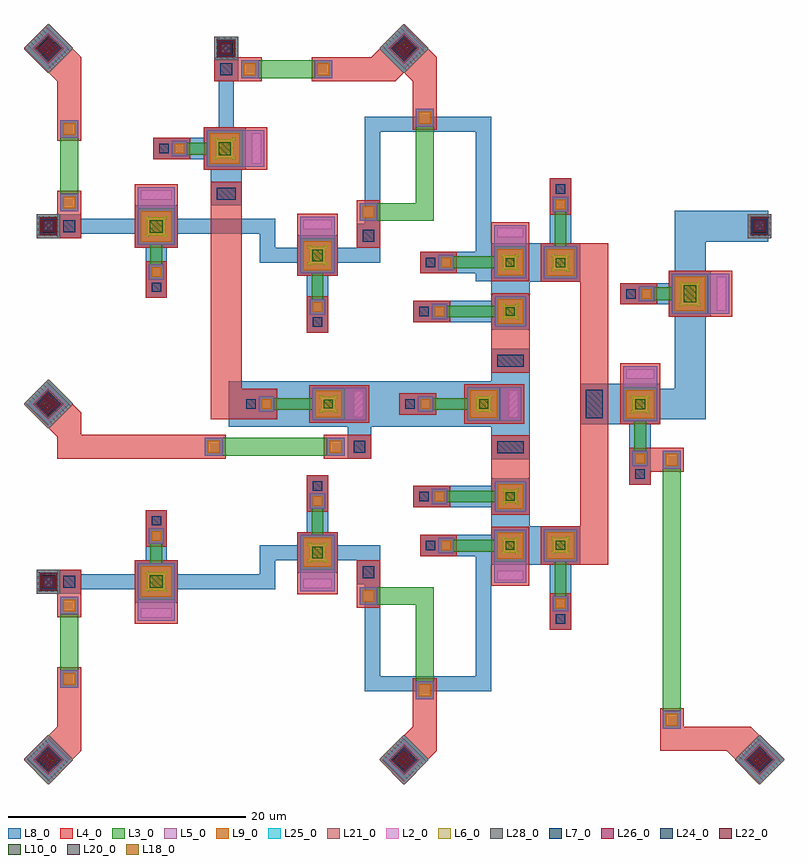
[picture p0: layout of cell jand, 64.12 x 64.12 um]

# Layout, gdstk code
import gdstk
lib = gdstk.Library(unit=1e-6, precision=1e-09)
def R(c, l, rs):  # rectangles x0, y0, x1, y1
    for r in rs: c.add(gdstk.rectangle(r[:2], r[2:], *l))
def P(c, l, *ps):  # polygons
    for p in ps: c.add(gdstk.Polygon(p, *l))
L2_0 = (2, 0)
L3_0 = (3, 0)
L4_0 = (4, 0)
L5_0 = (5, 0)
L6_0 = (6, 0)
L7_0 = (7, 0)
L8_0 = (8, 0)
L9_0 = (9, 0)
L10_0 = (10, 0)
L18_0 = (18, 0)
L20_0 = (20, 0)
L21_0 = (21, 0)
L22_0 = (22, 0)
L24_0 = (24, 0)
L25_0 = (25, 0)
L26_0 = (26, 0)
L28_0 = (28, 0)

jand = lib.new_cell('jand')
R(jand, L2_0, [(7.8,11.95,10.4,12.75), (21.5,14.45,23.9,15.25), (37.85,15.15,40.05,15.95), (38.85,28.85,39.65,31.15), (25.75,28.9,26.55,31.1), (48.75,32.15,51.1,32.95), (56.4,37.85,57.2,40.75), (37.85,44.05,40.05,44.85), (21.5,44.75,23.9,45.55), (7.8,47.25,10.4,48.05), (17.15,50.25,17.95,52.85)])
P(jand, L2_0, [(28.586,60),(30,58.586),(31.414,60),(30,61.414)],
  [(-1.414,30),(0,28.586),(1.414,30),(0,31.414)],
  [(-1.414,0),(0,-1.414),(1.414,0),(0,1.414)],
  [(28.586,0),(30,-1.414),(31.414,0),(30,1.414)],
  [(58.586,0),(60,-1.414),(61.414,0),(60,1.414)],
  [(-1.414,60),(0,58.586),(1.414,60),(0,61.414)])
R(jand, L3_0, [(51.85,2.6,53.35,4.1), (31,5.1,32.5,6.6), (1,6.05,2.5,7.55), (1,12.25,2.5,13.75), (42.55,12.5,43.85,13.8), (26.25,13.05,27.75,14.55), (7.55,13.5,10.65,16.55), (21.25,16,24.15,18.95), (37.6,16.7,40.3,19.4), (41.8,16.7,44.6,19.45), (32.9,17.4,34.2,18.7), (8.45,18.2,9.75,19.5), (37.65,20.9,40.3,23.5), (22.05,21.15,23.35,22.45), (32.35,21.55,33.65,22.85), (51.85,24.55,53.35,26.05), (49.275,24.75,50.575,26.05), (13.2,25.65,14.7,27.15), (23.5,25.65,25,27.15), (48.5,28.55,51.35,31.4), (35.35,28.6,38.1,31.4), (22.25,28.65,25,31.35), (17.75,29.35,19.05,30.65), (31.15,29.35,32.45,30.65), (37.65,36.5,40.3,39.1), (32.35,37.15,33.65,38.45), (22.05,37.55,23.35,38.85), (52.6,37.6,55.65,41), (49.8,38.65,51.1,39.95), (8.45,40.5,9.75,41.8), (41.8,40.55,44.6,43.3), (37.6,40.6,40.3,43.3), (21.25,41.05,24.15,44), (32.9,41.3,34.2,42.6), (7.55,43.45,10.65,46.5), (26.25,45.45,27.75,46.95), (42.55,46.2,43.85,47.5), (1,46.25,2.5,47.75), (13.35,50,16.4,53.1), (10.4,50.9,11.7,52.2), (1,52.45,2.5,53.95), (31,53.4,32.5,54.9), (16.25,57.5,17.75,59), (22.45,57.5,23.95,59)])
R(jand, L4_0, [(51.6,0.75,57.25,2.75), (51.6,2.35,53.6,4.35), (30.75,2.75,32.75,4.85), (30.75,4.85,32.75,6.85), (0.75,5.8,2.75,7.8), (42.3,10.95,44.1,12.75), (7.3,11.45,10.9,13.25), (0.75,12,2.75,14), (42.3,12.25,44.1,14.05), (26,12.8,28,14.8), (7.3,13.25,10.9,16.8), (21,13.95,24.4,15.75), (0.75,14,2.75,16), (37.35,14.65,40.55,16.45), (26,14.8,28,16.8), (21,15.75,24.4,19.2), (37.35,16.45,40.55,19.65), (41.55,16.45,44.85,19.7), (44.85,16.45,47.25,43.55), (31.35,17.15,33.15,18.95), (32.65,17.15,34.45,18.95), (8.2,17.95,10,19.75), (8.2,19.25,10,21.05), (37.35,20.65,40.6,25.35), (37.4,20.65,40.55,23.75), (21.8,20.9,23.6,22.7), (30.8,21.3,32.6,23.1), (32.1,21.3,33.9,23.1), (21.8,22.2,23.6,24), (49.025,23.2,50.825,25), (49.25,24.2,50.15,26.2), (50.8,24.3,51.6,26.3), (51.6,24.3,53.6,26.3), (49.025,24.5,50.825,26.3), (37.35,25.35,40.6,27.35), (0.75,25.4,12.95,27.4), (12.95,25.4,14.95,27.4), (23.25,25.4,25.25,27.4), (25.25,25.4,27.25,27.4), (44.85,28.3,47.25,31.7), (48.25,28.3,51.6,31.65), (35.1,28.35,38.35,31.65), (38.35,28.35,40.15,31.65), (22,28.4,25.25,31.6), (25.25,28.4,27.05,31.6), (16.2,29.1,18,30.9), (17.5,29.1,19.3,30.9), (29.6,29.1,31.4,30.9), (30.9,29.1,32.7,30.9), (48.25,31.65,51.6,33.45), (37.35,32.65,40.6,34.65), (37.35,34.65,40.6,39.15), (21.8,36,23.6,37.8), (37.4,36.25,40.55,39.35), (30.8,36.9,32.6,38.7), (32.1,36.9,33.9,38.7), (21.8,37.3,23.6,39.1), (52.35,37.35,55.9,41.25), (55.9,37.35,57.7,41.25), (48.25,38.4,50.05,40.2), (49.55,38.4,51.35,40.2), (8.2,38.95,10,40.75), (8.2,40.25,10,42.05), (41.55,40.3,44.85,43.55), (37.35,40.35,40.55,43.55), (21,40.8,24.4,44.25), (31.35,41.05,33.15,42.85), (32.65,41.05,34.45,42.85), (7.3,43.2,10.9,46.75), (26,43.2,28,45.2), (37.35,43.55,40.55,45.35), (0.75,44,2.75,46), (21,44.25,24.4,46.05), (26,45.2,28,47.2), (42.3,45.95,44.1,47.75), (0.75,46,2.75,48), (7.3,46.75,10.9,48.55), (13.7,46.75,16.3,48.75), (42.3,47.25,44.1,49.05), (13.1,49.75,16.65,53.35), (16.65,49.75,18.45,53.35), (8.85,50.65,10.65,52.45), (10.15,50.65,11.95,52.45), (0.75,52.2,2.75,54.2), (30.75,53.15,32.75,55.15), (30.75,55.15,32.75,57.25), (14,57.25,16,59.25), (16,57.25,18,59.25), (22.2,57.25,24.2,59.25)])
P(jand, L4_0, [(29.939,57.939),(30.061,57.939),(32.061,59.939),(32.061,60.061),(30.061,62.061),(29.939,62.061),(27.939,60.061),(27.939,59.939)],
  [(30.75,57.25),(32.75,57.25),(32.75,59.25),(31,61),(29,59)],
  [(27.25,59.25),(27.25,57.25),(29.25,57.25),(31,59),(29,61)],
  [(-0.061,27.939),(0.061,27.939),(2.061,29.939),(2.061,30.061),(0.061,32.061),(-0.061,32.061),(-2.061,30.061),(-2.061,29.939)],
  [(0.75,27.25),(2.75,27.25),(2.75,29.25),(1,31),(-1,29)],
  [(-0.061,-2.061),(0.061,-2.061),(2.061,-0.061),(2.061,0.061),(0.061,2.061),(-0.061,2.061),(-2.061,0.061),(-2.061,-0.061)],
  [(2.75,0.75),(2.75,2.75),(0.75,2.75),(-1,1),(1,-1)],
  [(29.939,-2.061),(30.061,-2.061),(32.061,-0.061),(32.061,0.061),(30.061,2.061),(29.939,2.061),(27.939,0.061),(27.939,-0.061)],
  [(32.75,0.75),(32.75,2.75),(30.75,2.75),(29,1),(31,-1)],
  [(59.939,-2.061),(60.061,-2.061),(62.061,-0.061),(62.061,0.061),(60.061,2.061),(59.939,2.061),(57.939,0.061),(57.939,-0.061)],
  [(59.25,2.75),(57.25,2.75),(57.25,0.75),(59,-1),(61,1)],
  [(-0.061,57.939),(0.061,57.939),(2.061,59.939),(2.061,60.061),(0.061,62.061),(-0.061,62.061),(-2.061,60.061),(-2.061,59.939)],
  [(0.75,57.25),(2.75,57.25),(2.75,59.25),(1,61),(-1,59)])
R(jand, L5_0, [(51.85,2.6,53.35,4.1), (31,5.1,32.5,6.6), (1,6.05,2.5,7.55), (7.55,11.7,10.65,13), (1,12.25,2.5,13.75), (42.55,12.5,43.85,13.8), (7.55,13,10.65,13.5), (26.25,13.05,27.75,14.55), (7.55,13.5,10.65,16.55), (21.25,14.2,24.15,15.5), (37.6,14.9,40.3,16.2), (21.25,15.5,24.15,16), (21.25,16,24.15,18.95), (37.6,16.2,40.3,16.7), (37.6,16.7,40.3,19.4), (41.8,16.7,44.6,19.45), (32.9,17.4,34.2,18.7), (8.45,18.2,9.75,19.5), (37.65,20.9,40.3,23.5), (22.05,21.15,23.35,22.45), (32.35,21.55,33.65,22.85), (51.85,24.55,53.35,26.05), (49.275,24.75,50.575,26.05), (13.2,25.65,14.7,27.15), (23.5,25.65,25,27.15), (48.5,28.55,51.35,31.4), (35.35,28.6,38.1,31.4), (38.1,28.6,38.6,31.4), (38.6,28.6,39.9,31.4), (22.25,28.65,25,31.35), (25,28.65,25.5,31.35), (25.5,28.65,26.8,31.35), (17.75,29.35,19.05,30.65), (31.15,29.35,32.45,30.65), (48.5,31.4,51.35,31.9), (48.5,31.9,51.35,33.2), (37.65,36.5,40.3,39.1), (32.35,37.15,33.65,38.45), (22.05,37.55,23.35,38.85), (52.6,37.6,55.65,41), (55.65,37.6,56.15,41), (56.15,37.6,57.45,41), (49.8,38.65,51.1,39.95), (8.45,40.5,9.75,41.8), (41.8,40.55,44.6,43.3), (37.6,40.6,40.3,43.3), (21.25,41.05,24.15,44), (32.9,41.3,34.2,42.6), (37.6,43.3,40.3,43.8), (7.55,43.45,10.65,46.5), (37.6,43.8,40.3,45.1), (21.25,44,24.15,44.5), (21.25,44.5,24.15,45.8), (26.25,45.45,27.75,46.95), (42.55,46.2,43.85,47.5), (1,46.25,2.5,47.75), (7.55,46.5,10.65,47), (7.55,47,10.65,48.3), (13.35,50,16.4,53.1), (16.4,50,16.9,53.1), (16.9,50,18.2,53.1), (10.4,50.9,11.7,52.2), (1,52.45,2.5,53.95), (31,53.4,32.5,54.9), (16.25,57.5,17.75,59), (22.45,57.5,23.95,59)])
P(jand, L5_0, [(28.232,60),(30,58.232),(31.768,60),(30,61.768)],
  [(-1.768,30),(0,28.232),(1.768,30),(0,31.768)],
  [(-1.768,0),(0,-1.768),(1.768,0),(0,1.768)],
  [(28.232,0),(30,-1.768),(31.768,0),(30,1.768)],
  [(58.232,0),(60,-1.768),(61.768,0),(60,1.768)],
  [(-1.768,60),(0,58.232),(1.768,60),(0,61.768)])
R(jand, L6_0, [(8.2,14.15,8.4,14.35), (9.8,14.15,10,14.35), (8.3,14.25,9.9,15.8), (8.2,15.7,8.4,15.9), (9.8,15.7,10,15.9), (21.9,16.65,22.1,16.85), (23.3,16.65,23.5,16.85), (22,16.75,23.4,18.2), (38.25,17.35,38.45,17.55), (39.45,17.35,39.65,17.55), (42.45,17.35,42.65,17.55), (43.75,17.35,43.95,17.55), (38.35,17.45,39.55,18.65), (42.55,17.45,43.85,18.7), (21.9,18.1,22.1,18.3), (23.3,18.1,23.5,18.3), (38.25,18.55,38.45,18.75), (39.45,18.55,39.65,18.75), (42.45,18.6,42.65,18.8), (43.75,18.6,43.95,18.8), (38.3,21.55,38.5,21.75), (39.45,21.55,39.65,21.75), (38.4,21.65,39.55,22.75), (38.3,22.65,38.5,22.85), (39.45,22.65,39.65,22.85), (49.15,29.2,49.35,29.4), (50.5,29.2,50.7,29.4), (36,29.25,36.2,29.45), (37.25,29.25,37.45,29.45), (22.9,29.3,23.1,29.5), (24.15,29.3,24.35,29.5), (49.25,29.3,50.6,30.65), (36.1,29.35,37.35,30.65), (23,29.4,24.25,30.6), (22.9,30.5,23.1,30.7), (24.15,30.5,24.35,30.7), (36,30.55,36.2,30.75), (37.25,30.55,37.45,30.75), (49.15,30.55,49.35,30.75), (50.5,30.55,50.7,30.75), (38.3,37.15,38.5,37.35), (39.45,37.15,39.65,37.35), (38.4,37.25,39.55,38.35), (38.3,38.25,38.5,38.45), (39.45,38.25,39.65,38.45), (53.25,38.25,53.45,38.45), (54.8,38.25,55,38.45), (53.35,38.35,54.9,40.25), (53.25,40.15,53.45,40.35), (54.8,40.15,55,40.35), (42.45,41.2,42.65,41.4), (43.75,41.2,43.95,41.4), (38.25,41.25,38.45,41.45), (39.45,41.25,39.65,41.45), (42.55,41.3,43.85,42.55), (38.35,41.35,39.55,42.55), (21.9,41.7,22.1,41.9), (23.3,41.7,23.5,41.9), (22,41.8,23.4,43.25), (38.25,42.45,38.45,42.65), (39.45,42.45,39.65,42.65), (42.45,42.45,42.65,42.65), (43.75,42.45,43.95,42.65), (21.9,43.15,22.1,43.35), (23.3,43.15,23.5,43.35), (8.2,44.1,8.4,44.3), (9.8,44.1,10,44.3), (8.3,44.2,9.9,45.75), (8.2,45.65,8.4,45.85), (9.8,45.65,10,45.85), (14,50.65,14.2,50.85), (15.55,50.65,15.75,50.85), (14.1,50.75,15.65,52.35), (14,52.25,14.2,52.45), (15.55,52.25,15.75,52.45)])
R(jand, L7_0, [(42.8,11.45,43.6,12.25), (1.25,14.5,2.25,15.5), (26.5,15.3,27.5,16.3), (31.85,17.65,32.65,18.45), (8.7,19.75,9.5,20.55), (31.3,21.8,32.1,22.6), (22.3,22.7,23.1,23.5), (49.525,23.7,50.325,24.5), (37.85,25.85,40.1,26.85), (25.75,25.9,26.75,26.9), (45.35,28.8,46.75,31.2), (16.7,29.6,17.5,30.4), (30.1,29.6,30.9,30.4), (37.85,33.15,40.1,34.15), (22.3,36.5,23.1,37.3), (31.3,37.4,32.1,38.2), (48.75,38.9,49.55,39.7), (8.7,39.45,9.5,40.25), (31.85,41.55,32.65,42.35), (26.5,43.7,27.5,44.7), (1.25,44.5,2.25,45.5), (14.2,47.25,15.8,48.25), (42.8,47.75,43.6,48.55), (9.35,51.15,10.15,51.95), (14.5,57.75,15.5,58.75)])
R(jand, L8_0, [(42.3,10.95,44.1,12.75), (7.3,13.25,10.9,16.8), (0.75,14,2.75,16), (26,14.8,28,16.8), (21,15.75,24.4,19.2), (37.35,16.45,40.55,19.65), (41.55,16.45,44.85,19.7), (31.35,17.15,33.15,18.95), (8.2,19.25,10,21.05), (37.4,20.65,40.55,23.75), (30.8,21.3,32.6,23.1), (21.8,22.2,23.6,24), (49.025,23.2,50.825,25), (37.35,25.35,40.6,27.35), (25.25,25.4,27.25,27.4), (37.35,27.35,40.6,32.65), (25.25,27.4,27.25,28.5), (44.85,28.3,47.25,31.7), (47.25,28.3,51.6,31.7), (48.25,28.3,51.6,31.65), (35.1,28.35,38.35,31.65), (22,28.4,25.25,31.6), (16.2,29.1,18,30.9), (29.6,29.1,31.4,30.9), (37.35,32.65,40.6,34.65), (21.8,36,23.6,37.8), (37.4,36.25,40.55,39.35), (30.8,36.9,32.6,38.7), (52.35,37.35,55.9,41.25), (48.25,38.4,50.05,40.2), (8.2,38.95,10,40.75), (41.55,40.3,44.85,43.55), (37.35,40.35,40.55,43.55), (21,40.8,24.4,44.25), (31.35,41.05,33.15,42.85), (7.3,43.2,10.9,46.75), (26,43.2,28,45.2), (0.75,44,2.75,46), (13.7,46.75,16.3,48.75), (42.3,47.25,44.1,49.05), (13.1,49.75,16.65,53.35), (8.85,50.65,10.65,52.45), (14,57.25,16,59.25)])
P(jand, L8_0, [(44.85,43.55),(37.35,43.55),(37.35,36.25),(40.6,36.25),(40.6,40.3),(44.85,40.3)],
  [(44.85,16.45),(44.85,19.7),(40.6,19.7),(40.6,23.75),(37.35,23.75),(37.35,16.45)])
R(jand, L9_0, [(52.1,2.85,53.1,3.85), (31.25,5.35,32.25,6.35), (1.25,6.3,2.25,7.3), (1.25,12.5,2.25,13.5), (42.8,12.75,43.6,13.55), (26.5,13.3,27.5,14.3), (7.8,13.75,10.4,16.3), (21.5,16.25,23.9,18.7), (37.85,16.95,40.05,19.15), (42.05,16.95,44.35,19.2), (33.15,17.65,33.95,18.45), (8.7,18.45,9.5,19.25), (37.9,21.15,40.05,23.25), (22.3,21.4,23.1,22.2), (32.6,21.8,33.4,22.6), (52.1,24.8,53.1,25.8), (49.525,25,50.325,25.8), (13.45,25.9,14.45,26.9), (23.75,25.9,24.75,26.9), (48.75,28.8,51.1,31.15), (35.6,28.85,37.85,31.15), (22.5,28.9,24.75,31.1), (18,29.6,18.8,30.4), (31.4,29.6,32.2,30.4), (37.9,36.75,40.05,38.85), (32.6,37.4,33.4,38.2), (22.3,37.8,23.1,38.6), (52.85,37.85,55.4,40.75), (50.05,38.9,50.85,39.7), (8.7,40.75,9.5,41.55), (42.05,40.8,44.35,43.05), (37.85,40.85,40.05,43.05), (21.5,41.3,23.9,43.75), (33.15,41.55,33.95,42.35), (7.8,43.7,10.4,46.25), (26.5,45.7,27.5,46.7), (42.8,46.45,43.6,47.25), (1.25,46.5,2.25,47.5), (13.6,50.25,16.15,52.85), (10.65,51.15,11.45,51.95), (1.25,52.7,2.25,53.7), (31.25,53.65,32.25,54.65), (16.5,57.75,17.5,58.75), (22.7,57.75,23.7,58.75)])
R(jand, L10_0, [(8.55,14.5,9.65,15.55), (22.25,17,23.15,17.95), (38.6,17.7,39.3,18.4), (42.8,17.7,43.6,18.45), (38.6,21.85,39.35,22.55), (49.5,29.55,50.35,30.4), (36.35,29.6,37.1,30.4), (23.25,29.65,24,30.35), (38.6,37.45,39.35,38.15), (53.6,38.6,54.65,40), (42.8,41.55,43.6,42.3), (38.6,41.6,39.3,42.3), (22.25,42.05,23.15,43), (8.55,44.45,9.65,45.5), (14.35,51,15.4,52.1)])
P(jand, L18_0, [(29.434,60),(30,59.434),(30.566,60),(30,60.566)],
  [(-0.566,30),(0,29.434),(0.566,30),(0,30.566)],
  [(-0.566,0),(0,-0.566),(0.566,0),(0,0.566)],
  [(29.434,0),(30,-0.566),(30.566,0),(30,0.566)],
  [(59.434,0),(60,-0.566),(60.566,0),(60,0.566)],
  [(-0.566,60),(0,59.434),(0.566,60),(0,60.566)])
R(jand, L20_0, [(-0.4,14.6,0.4,15.4), (-0.4,44.6,0.4,45.4), (59.6,44.6,60.4,45.4), (14.6,59.6,15.4,60.4)])
P(jand, L20_0, [(29.293,60),(30,59.293),(30.707,60),(30,60.707)],
  [(-0.707,30),(0,29.293),(0.707,30),(0,30.707)],
  [(-0.707,0),(0,-0.707),(0.707,0),(0,0.707)],
  [(29.293,0),(30,-0.707),(30.707,0),(30,0.707)],
  [(59.293,0),(60,-0.707),(60.707,0),(60,0.707)],
  [(-0.707,60),(0,59.293),(0.707,60),(0,60.707)])
R(jand, L21_0, [(-1,14,1,16), (-1,44,1,46), (59,44,61,46), (14,59,16,61)])
P(jand, L21_0, [(29.939,57.939),(30.061,57.939),(32.061,59.939),(32.061,60.061),(30.061,62.061),(29.939,62.061),(27.939,60.061),(27.939,59.939)],
  [(-0.061,27.939),(0.061,27.939),(2.061,29.939),(2.061,30.061),(0.061,32.061),(-0.061,32.061),(-2.061,30.061),(-2.061,29.939)],
  [(-0.061,-2.061),(0.061,-2.061),(2.061,-0.061),(2.061,0.061),(0.061,2.061),(-0.061,2.061),(-2.061,0.061),(-2.061,-0.061)],
  [(29.939,-2.061),(30.061,-2.061),(32.061,-0.061),(32.061,0.061),(30.061,2.061),(29.939,2.061),(27.939,0.061),(27.939,-0.061)],
  [(59.939,-2.061),(60.061,-2.061),(62.061,-0.061),(62.061,0.061),(60.061,2.061),(59.939,2.061),(57.939,0.061),(57.939,-0.061)],
  [(-0.061,57.939),(0.061,57.939),(2.061,59.939),(2.061,60.061),(0.061,62.061),(-0.061,62.061),(-2.061,60.061),(-2.061,59.939)])
R(jand, L22_0, [(-0.5,14.5,0.5,15.5), (-0.5,44.5,0.5,45.5), (59.5,44.5,60.5,45.5), (14.5,59.5,15.5,60.5)])
P(jand, L22_0, [(29.151,60),(30,59.151),(30.849,60),(30,60.849)],
  [(-0.849,30),(0,29.151),(0.849,30),(0,30.849)],
  [(-0.849,0),(0,-0.849),(0.849,0),(0,0.849)],
  [(29.151,0),(30,-0.849),(30.849,0),(30,0.849)],
  [(59.151,0),(60,-0.849),(60.849,0),(60,0.849)],
  [(-0.849,60),(0,59.151),(0.849,60),(0,60.849)])
R(jand, L24_0, [(-0.6,14.4,0.6,15.6), (-0.6,44.4,0.6,45.6), (59.4,44.4,60.6,45.6), (14.4,59.4,15.6,60.6)])
P(jand, L24_0, [(29.01,60),(30,59.01),(30.99,60),(30,60.99)],
  [(-0.99,30),(0,29.01),(0.99,30),(0,30.99)],
  [(-0.99,0),(0,-0.99),(0.99,0),(0,0.99)],
  [(29.01,0),(30,-0.99),(30.99,0),(30,0.99)],
  [(59.01,0),(60,-0.99),(60.99,0),(60,0.99)],
  [(-0.99,60),(0,59.01),(0.99,60),(0,60.99)])
R(jand, L25_0, [(-1,14,1,16), (-1,44,1,46), (59,44,61,46), (14,59,16,61)])
P(jand, L25_0, [(29.939,57.939),(30.061,57.939),(32.061,59.939),(32.061,60.061),(30.061,62.061),(29.939,62.061),(27.939,60.061),(27.939,59.939)],
  [(-0.061,27.939),(0.061,27.939),(2.061,29.939),(2.061,30.061),(0.061,32.061),(-0.061,32.061),(-2.061,30.061),(-2.061,29.939)],
  [(-0.061,-2.061),(0.061,-2.061),(2.061,-0.061),(2.061,0.061),(0.061,2.061),(-0.061,2.061),(-2.061,0.061),(-2.061,-0.061)],
  [(29.939,-2.061),(30.061,-2.061),(32.061,-0.061),(32.061,0.061),(30.061,2.061),(29.939,2.061),(27.939,0.061),(27.939,-0.061)],
  [(59.939,-2.061),(60.061,-2.061),(62.061,-0.061),(62.061,0.061),(60.061,2.061),(59.939,2.061),(57.939,0.061),(57.939,-0.061)],
  [(-0.061,57.939),(0.061,57.939),(2.061,59.939),(2.061,60.061),(0.061,62.061),(-0.061,62.061),(-2.061,60.061),(-2.061,59.939)])
R(jand, L26_0, [(-0.7,14.3,0.7,15.7), (-0.7,44.3,0.7,45.7), (59.3,44.3,60.7,45.7), (14.3,59.3,15.7,60.7)])
P(jand, L26_0, [(28.869,60),(30,58.869),(31.131,60),(30,61.131)],
  [(-1.131,30),(0,28.869),(1.131,30),(0,31.131)],
  [(-1.131,0),(0,-1.131),(1.131,0),(0,1.131)],
  [(28.869,0),(30,-1.131),(31.131,0),(30,1.131)],
  [(58.869,0),(60,-1.131),(61.131,0),(60,1.131)],
  [(-1.131,60),(0,58.869),(1.131,60),(0,61.131)])
R(jand, L28_0, [(-0.8,14.2,0.8,15.8), (-0.8,44.2,0.8,45.8), (59.2,44.2,60.8,45.8), (14.2,59.2,15.8,60.8)])
P(jand, L28_0, [(28.727,60),(30,58.727),(31.273,60),(30,61.273)],
  [(-1.273,30),(0,28.727),(1.273,30),(0,31.273)],
  [(-1.273,0),(0,-1.273),(1.273,0),(0,1.273)],
  [(28.727,0),(30,-1.273),(31.273,0),(30,1.273)],
  [(58.727,0),(60,-1.273),(61.273,0),(60,1.273)],
  [(-1.273,60),(0,58.727),(1.273,60),(0,61.273)])
jand.add(gdstk.FlexPath([(0.75,45),(18.5,45),(18.5,42.55),(28,42.55)], 1.3, ends="flush", simple_path=True, layer=8, datatype=0))  # L8_0
jand.add(gdstk.FlexPath([(15,51.45),(15,48.75)], 2.6, ends="flush", simple_path=True, layer=8, datatype=0))  # L8_0
jand.add(gdstk.FlexPath([(51.6,30),(54.15,30),(54.15,45),(60.75,45)], 2.6, ends="flush", simple_path=True, layer=8, datatype=0))  # L8_0
jand.add(gdstk.FlexPath([(15.2,30),(37.35,30)], 3.8, ends="flush", simple_path=True, layer=8, datatype=0))  # L8_0
jand.add(gdstk.FlexPath([(27.35,43.2),(27.35,53.6),(36.7,53.6),(36.7,40.35)], 1.3, ends="flush", simple_path=True, layer=8, datatype=0))  # L8_0
jand.add(gdstk.FlexPath([(0.75,15),(18.5,15),(18.5,17.45),(28,17.45)], 1.3, ends="flush", simple_path=True, layer=8, datatype=0))  # L8_0
jand.add(gdstk.FlexPath([(27.35,18.1),(27.35,6.4),(36.7,6.4),(36.7,18.95)], 1.3, ends="flush", simple_path=True, layer=8, datatype=0))  # L8_0
jand.add(gdstk.FlexPath([(15,59.25),(15,51.8)], 1.3, ends="flush", simple_path=True, layer=8, datatype=0))  # L8_0
jand.add(gdstk.FlexPath([(37.35,18.05),(33.15,18.05)], 1.8, ends="flush", simple_path=True, layer=8, datatype=0))  # L8_0
jand.add(gdstk.FlexPath([(37.35,41.95),(33.15,41.95)], 1.8, ends="flush", simple_path=True, layer=8, datatype=0))  # L8_0
jand.add(gdstk.FlexPath([(52.35,39.3),(50.05,39.3)], 1.8, ends="flush", simple_path=True, layer=8, datatype=0))  # L8_0
jand.add(gdstk.FlexPath([(22,30),(18,30)], 1.8, ends="flush", simple_path=True, layer=8, datatype=0))  # L8_0
jand.add(gdstk.FlexPath([(35.1,30),(31.4,30)], 1.8, ends="flush", simple_path=True, layer=8, datatype=0))  # L8_0
jand.add(gdstk.FlexPath([(49.925,28.3),(49.925,25)], 1.8, ends="flush", simple_path=True, layer=8, datatype=0))  # L8_0
jand.add(gdstk.FlexPath([(43.2,43.55),(43.2,47.25)], 1.8, ends="flush", simple_path=True, layer=8, datatype=0))  # L8_0
jand.add(gdstk.FlexPath([(43.2,16.45),(43.2,12.75)], 1.8, ends="flush", simple_path=True, layer=8, datatype=0))  # L8_0
jand.add(gdstk.FlexPath([(37.4,37.8),(32.6,37.8)], 1.8, ends="flush", simple_path=True, layer=8, datatype=0))  # L8_0
jand.add(gdstk.FlexPath([(37.4,22.2),(32.6,22.2)], 1.8, ends="flush", simple_path=True, layer=8, datatype=0))  # L8_0
jand.add(gdstk.FlexPath([(22.7,40.8),(22.7,37.8)], 1.8, ends="flush", simple_path=True, layer=8, datatype=0))  # L8_0
jand.add(gdstk.FlexPath([(22.7,19.2),(22.7,22.2)], 1.8, ends="flush", simple_path=True, layer=8, datatype=0))  # L8_0
jand.add(gdstk.FlexPath([(9.1,43.2),(9.1,40.75)], 1.8, ends="flush", simple_path=True, layer=8, datatype=0))  # L8_0
jand.add(gdstk.FlexPath([(13.1,51.55),(10.65,51.55)], 1.8, ends="flush", simple_path=True, layer=8, datatype=0))  # L8_0
jand.add(gdstk.FlexPath([(9.1,16.8),(9.1,19.25)], 1.8, ends="flush", simple_path=True, layer=8, datatype=0))  # L8_0
jand.add(gdstk.FlexPath([(1.75,47.5),(1.75,52.7)], 1.5, ends="flush", simple_path=True, layer=3, datatype=0))  # L3_0
jand.add(gdstk.FlexPath([(13.6,51.55),(11.45,51.55)], 1, ends="flush", simple_path=True, layer=3, datatype=0))  # L3_0
jand.add(gdstk.FlexPath([(1.75,12.5),(1.75,7.3)], 1.5, ends="flush", simple_path=True, layer=3, datatype=0))  # L3_0
jand.add(gdstk.FlexPath([(17.5,58.25),(22.7,58.25)], 1.5, ends="flush", simple_path=True, layer=3, datatype=0))  # L3_0
jand.add(gdstk.FlexPath([(52.6,24.8),(52.6,3.85)], 1.5, ends="flush", simple_path=True, layer=3, datatype=0))  # L3_0
jand.add(gdstk.FlexPath([(31.75,6.35),(31.75,13.8),(27.5,13.8)], 1.5, ends="flush", simple_path=True, layer=3, datatype=0))  # L3_0
jand.add(gdstk.FlexPath([(23.75,26.4),(14.45,26.4)], 1.5, ends="flush", simple_path=True, layer=3, datatype=0))  # L3_0
jand.add(gdstk.FlexPath([(31.75,53.65),(31.75,46.2),(27.5,46.2)], 1.5, ends="flush", simple_path=True, layer=3, datatype=0))  # L3_0
jand.add(gdstk.FlexPath([(37.85,41.95),(33.95,41.95)], 1, ends="flush", simple_path=True, layer=3, datatype=0))  # L3_0
jand.add(gdstk.FlexPath([(37.85,18.05),(33.95,18.05)], 1, ends="flush", simple_path=True, layer=3, datatype=0))  # L3_0
jand.add(gdstk.FlexPath([(52.85,39.3),(50.85,39.3)], 1.1, ends="flush", simple_path=True, layer=3, datatype=0))  # L3_0
jand.add(gdstk.FlexPath([(22.5,30),(18.8,30)], 1, ends="flush", simple_path=True, layer=3, datatype=0))  # L3_0
jand.add(gdstk.FlexPath([(35.6,30),(32.2,30)], 1, ends="flush", simple_path=True, layer=3, datatype=0))  # L3_0
jand.add(gdstk.FlexPath([(49.925,28.8),(49.925,25.8)], 1, ends="flush", simple_path=True, layer=3, datatype=0))  # L3_0
jand.add(gdstk.FlexPath([(43.2,43.05),(43.2,46.45)], 1, ends="flush", simple_path=True, layer=3, datatype=0))  # L3_0
jand.add(gdstk.FlexPath([(43.2,16.95),(43.2,13.55)], 1, ends="flush", simple_path=True, layer=3, datatype=0))  # L3_0
jand.add(gdstk.FlexPath([(37.9,37.8),(33.4,37.8)], 1, ends="flush", simple_path=True, layer=3, datatype=0))  # L3_0
jand.add(gdstk.FlexPath([(37.9,22.2),(33.4,22.2)], 1, ends="flush", simple_path=True, layer=3, datatype=0))  # L3_0
jand.add(gdstk.FlexPath([(22.7,41.3),(22.7,38.6)], 1, ends="flush", simple_path=True, layer=3, datatype=0))  # L3_0
jand.add(gdstk.FlexPath([(22.7,18.7),(22.7,21.4)], 1, ends="flush", simple_path=True, layer=3, datatype=0))  # L3_0
jand.add(gdstk.FlexPath([(9.1,43.7),(9.1,41.55)], 1, ends="flush", simple_path=True, layer=3, datatype=0))  # L3_0
jand.add(gdstk.FlexPath([(9.1,16.3),(9.1,18.45)], 1, ends="flush", simple_path=True, layer=3, datatype=0))  # L3_0
jand.add(gdstk.FlexPath([(1.75,7.8),(1.75,2.75)], 2, ends="flush", simple_path=True, layer=4, datatype=0))  # L4_0
jand.add(gdstk.FlexPath([(22.2,58.25),(27.25,58.25)], 2, ends="flush", simple_path=True, layer=4, datatype=0))  # L4_0
jand.add(gdstk.FlexPath([(1.75,57.25),(1.75,52.2)], 2, ends="flush", simple_path=True, layer=4, datatype=0))  # L4_0
jand.add(gdstk.FlexPath([(15,47.3),(15,30),(19.3,30)], 2.6, ends="flush", simple_path=True, layer=4, datatype=0))  # L4_0

lib.write_gds('jand.gds')
